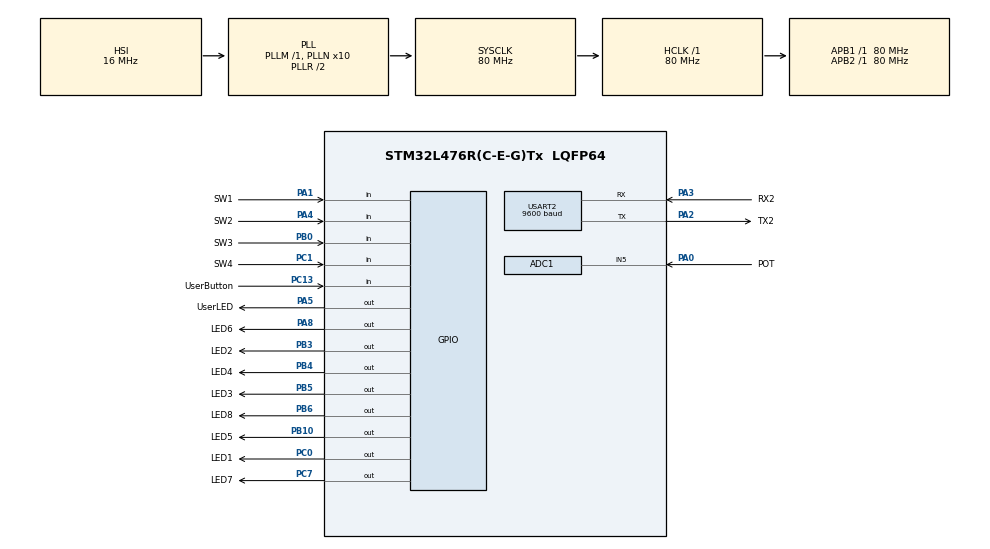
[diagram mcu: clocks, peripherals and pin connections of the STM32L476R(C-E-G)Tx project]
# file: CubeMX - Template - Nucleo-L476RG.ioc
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ADC1.Channel-0\#ChannelRegularConversion=ADC_CHANNEL_5
ADC1.NbrOfConversionFlag=1
ADC1.OffsetNumber-0\#ChannelRegularConversion=ADC_OFFSET_NONE
ADC1.Overrun=ADC_OVR_DATA_OVERWRITTEN
ADC1.Rank-0\#ChannelRegularConversion=1
ADC1.Resolution=ADC_RESOLUTION_12B
ADC1.SamplingTime-0\#ChannelRegularConversion=ADC_SAMPLETIME_2CYCLES_5
ADC1.master=1
Mcu.Family=STM32L4
Mcu.Name=STM32L476R(C-E-G)Tx
Mcu.Package=LQFP64
NVIC.PriorityGroup=NVIC_PRIORITYGROUP_4
PA0.GPIO_Label=POT
PA0.Signal=ADCx_IN5
PA1.GPIO_Label=SW1
PA1.Signal=GPIO_Input
PA13\ (JTMS-SWDIO).GPIO_Label=TMS
PA13\ (JTMS-SWDIO).Mode=Serial_Wire
PA13\ (JTMS-SWDIO).Signal=SYS_JTMS-SWDIO
PA14\ (JTCK-SWCLK).GPIO_Label=TCK
PA14\ (JTCK-SWCLK).Mode=Serial_Wire
PA14\ (JTCK-SWCLK).Signal=SYS_JTCK-SWCLK
PA2.GPIO_Label=TX2
PA2.GPIO_Mode=GPIO_MODE_AF_PP
PA2.GPIO_PuPd=GPIO_NOPULL
PA2.GPIO_Speed=GPIO_SPEED_FREQ_VERY_HIGH
PA2.Mode=Asynchronous
PA2.Signal=USART2_TX
PA3.GPIO_Label=RX2
PA3.GPIO_Mode=GPIO_MODE_AF_PP
PA3.GPIO_PuPd=GPIO_NOPULL
PA3.GPIO_Speed=GPIO_SPEED_FREQ_VERY_HIGH
PA3.Mode=Asynchronous
PA3.Signal=USART2_RX
PA4.GPIO_Label=SW2
PA4.Signal=GPIO_Input
PA5.GPIO_Label=UserLED
PA5.GPIO_ModeDefaultOutputPP=GPIO_MODE_OUTPUT_PP
PA5.GPIO_PuPd=GPIO_NOPULL
PA5.GPIO_Speed=GPIO_SPEED_FREQ_LOW
PA5.Signal=GPIO_Output
PA8.GPIO_Label=LED6
PA8.Signal=GPIO_Output
PB0.GPIO_Label=SW3
PB0.Signal=GPIO_Input
PB10.GPIO_Label=LED5
PB10.Signal=GPIO_Output
PB3\ (JTDO-TRACESWO).GPIO_Label=LED2
PB3\ (JTDO-TRACESWO).Signal=GPIO_Output
PB4\ (NJTRST).GPIO_Label=LED4
PB4\ (NJTRST).Signal=GPIO_Output
PB5.GPIO_Label=LED3
PB5.Signal=GPIO_Output
PB6.GPIO_Label=LED8
PB6.Signal=GPIO_Output
PC0.GPIO_Label=LED1
PC0.Signal=GPIO_Output
PC1.GPIO_Label=SW4
PC1.Signal=GPIO_Input
PC13.GPIO_Label=UserButton
PC13.Signal=GPIO_Input
PC7.GPIO_Label=LED7
PC7.Signal=GPIO_Output
ProjectManager.HeapSize=0x200
ProjectManager.StackSize=0x400
ProjectManager.TargetToolchain=MDK-ARM V5.32
RCC.ADCFreq_Value=64000000
RCC.AHBFreq_Value=80000000
RCC.APB1Freq_Value=80000000
RCC.APB1TimFreq_Value=80000000
RCC.APB2Freq_Value=80000000
RCC.APB2TimFreq_Value=80000000
RCC.CortexFreq_Value=80000000
RCC.HCLKFreq_Value=80000000
RCC.HSE_VALUE=8000000
RCC.HSI_VALUE=16000000
RCC.LSE_VALUE=32768
RCC.MSI_VALUE=4000000
RCC.PLLN=10
RCC.PLLSourceVirtual=RCC_PLLSOURCE_HSI
RCC.PREFETCH_ENABLE=1
RCC.SYSCLKFreq_VALUE=80000000
RCC.SYSCLKSource=RCC_SYSCLKSOURCE_PLLCLK
RCC.USBFreq_Value=64000000
RCC.VCOOutputFreq_Value=160000000
SH.ADCx_IN5.0=ADC1_IN5,IN5-Single-Ended
USART2.BaudRate=9600
USART2.OverrunDisableParam=ADVFEATURE_OVERRUN_DISABLE
USART2.VirtualMode-Asynchronous=VM_ASYNC
board=NUCLEO-L476RG

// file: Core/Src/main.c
/* USER CODE BEGIN Header */
/**
  ******************************************************************************
  * @file           : main.c
  * @brief          : Main program body
  ******************************************************************************
  * @attention
  *
  * Copyright (c) 2023 STMicroelectronics.
  * All rights reserved.
  *
  * This software is licensed under terms that can be found in the LICENSE file
  * in the root directory of this software component.
  * If no LICENSE file comes with this software, it is provided AS-IS.
  *
  ******************************************************************************
  */
/* USER CODE END Header */
#include "main.h"

/* USER CODE BEGIN Includes */
#include "leds.h"
#include "buttons.h"
#include "usart2.h"
#include "ad.h"
#include "stdio.h"
#include "string.h"
/* USER CODE END Includes */

ADC_HandleTypeDef hadc1;

UART_HandleTypeDef huart2;

/* USER CODE BEGIN PV */
static uint8_t count = 0;
static char text[101];
/* USER CODE END PV */

void SystemClock_Config(void);
static void MX_GPIO_Init(void);
static void MX_ADC1_Init(void);
static void MX_USART2_UART_Init(void);

int main(void)
{

  /* MCU Configuration--------------------------------------------------------*/

  /* Reset of all peripherals, Initializes the Flash interface and the Systick. */
  HAL_Init();

  /* Configure the system clock */
  SystemClock_Config();

  /* Initialize all configured peripherals */
  MX_GPIO_Init();
  MX_ADC1_Init();
  MX_USART2_UART_Init();
	count = 0 ; //count op alles omdat hij moet aoptellen (voor aftellen 225)
  /* USER CODE BEGIN 2 */
	// Laten weten dat we opgestart zijn, via de USART2 (USB).
	strcpy(text, "Reboot\r\n");
	printf("%s", text);
  /* USER CODE END 2 */

  /* Infinite loop */
  /* USER CODE BEGIN WHILE */
	uint8_t rx_buffer[4]; // Buffer om de ontvangen bytes op te slaan (4 bytes voor een int)
  int received_int;
  while (1)
  {
		// Wacht op ontvangst van data op de UART
		uint8_t receivedData;
		uint16_t shiftdata;
		HAL_UART_Receive(&huart2, &receivedData, 2, HAL_MAX_DELAY);

		receivedData -= 48; // Convert ascciivalue '0' to real value 0 (works for 0 to 9) !
		shiftdata = 1 << receivedData;
		shiftdata >>= 1;
		// Roep de functie aan om het overeenkomstige aantal LED's aan te sturen
		ByteToLeds((uint8_t)(shiftdata & 0xff));
    /* USER CODE END WHILE */

  }
}

void SystemClock_Config(void)
{
  RCC_OscInitTypeDef RCC_OscInitStruct = {0};
  RCC_ClkInitTypeDef RCC_ClkInitStruct = {0};

  /** Configure the main internal regulator output voltage
  */
  if (HAL_PWREx_ControlVoltageScaling(PWR_REGULATOR_VOLTAGE_SCALE1) != HAL_OK)
  {
    Error_Handler();
  }

  /** Initializes the RCC Oscillators according to the specified parameters
  * in the RCC_OscInitTypeDef structure.
  */
  RCC_OscInitStruct.OscillatorType = RCC_OSCILLATORTYPE_HSI;
  RCC_OscInitStruct.HSIState = RCC_HSI_ON;
  RCC_OscInitStruct.HSICalibrationValue = RCC_HSICALIBRATION_DEFAULT;
  RCC_OscInitStruct.PLL.PLLState = RCC_PLL_ON;
  RCC_OscInitStruct.PLL.PLLSource = RCC_PLLSOURCE_HSI;
  RCC_OscInitStruct.PLL.PLLM = 1;
  RCC_OscInitStruct.PLL.PLLN = 10;
  RCC_OscInitStruct.PLL.PLLP = RCC_PLLP_DIV7;
  RCC_OscInitStruct.PLL.PLLQ = RCC_PLLQ_DIV2;
  RCC_OscInitStruct.PLL.PLLR = RCC_PLLR_DIV2;
  if (HAL_RCC_OscConfig(&RCC_OscInitStruct) != HAL_OK)
  {
    Error_Handler();
  }

  /** Initializes the CPU, AHB and APB buses clocks
  */
  RCC_ClkInitStruct.ClockType = RCC_CLOCKTYPE_HCLK|RCC_CLOCKTYPE_SYSCLK
                              |RCC_CLOCKTYPE_PCLK1|RCC_CLOCKTYPE_PCLK2;
  RCC_ClkInitStruct.SYSCLKSource = RCC_SYSCLKSOURCE_PLLCLK;
  RCC_ClkInitStruct.AHBCLKDivider = RCC_SYSCLK_DIV1;
  RCC_ClkInitStruct.APB1CLKDivider = RCC_HCLK_DIV1;
  RCC_ClkInitStruct.APB2CLKDivider = RCC_HCLK_DIV1;

  if (HAL_RCC_ClockConfig(&RCC_ClkInitStruct, FLASH_LATENCY_4) != HAL_OK)
  {
    Error_Handler();
  }
}

static void MX_ADC1_Init(void)
{

  ADC_MultiModeTypeDef multimode = {0};
  ADC_ChannelConfTypeDef sConfig = {0};

  /** Common config
  */
  hadc1.Instance = ADC1;
  hadc1.Init.ClockPrescaler = ADC_CLOCK_ASYNC_DIV1;
  hadc1.Init.Resolution = ADC_RESOLUTION_12B;
  hadc1.Init.DataAlign = ADC_DATAALIGN_RIGHT;
  hadc1.Init.ScanConvMode = ADC_SCAN_DISABLE;
  hadc1.Init.EOCSelection = ADC_EOC_SINGLE_CONV;
  hadc1.Init.LowPowerAutoWait = DISABLE;
  hadc1.Init.ContinuousConvMode = DISABLE;
  hadc1.Init.NbrOfConversion = 1;
  hadc1.Init.DiscontinuousConvMode = DISABLE;
  hadc1.Init.ExternalTrigConv = ADC_SOFTWARE_START;
  hadc1.Init.ExternalTrigConvEdge = ADC_EXTERNALTRIGCONVEDGE_NONE;
  hadc1.Init.DMAContinuousRequests = DISABLE;
  hadc1.Init.Overrun = ADC_OVR_DATA_OVERWRITTEN;
  hadc1.Init.OversamplingMode = DISABLE;
  if (HAL_ADC_Init(&hadc1) != HAL_OK)
  {
    Error_Handler();
  }

  /** Configure the ADC multi-mode
  */
  multimode.Mode = ADC_MODE_INDEPENDENT;
  if (HAL_ADCEx_MultiModeConfigChannel(&hadc1, &multimode) != HAL_OK)
  {
    Error_Handler();
  }

  /** Configure Regular Channel
  */
  sConfig.Channel = ADC_CHANNEL_5;
  sConfig.Rank = ADC_REGULAR_RANK_1;
  sConfig.SamplingTime = ADC_SAMPLETIME_2CYCLES_5;
  sConfig.SingleDiff = ADC_SINGLE_ENDED;
  sConfig.OffsetNumber = ADC_OFFSET_NONE;
  sConfig.Offset = 0;
  if (HAL_ADC_ConfigChannel(&hadc1, &sConfig) != HAL_OK)
  {
    Error_Handler();
  }

}

static void MX_USART2_UART_Init(void)
{

  huart2.Instance = USART2;
  huart2.Init.BaudRate = 9600;
  huart2.Init.WordLength = UART_WORDLENGTH_8B;
  huart2.Init.StopBits = UART_STOPBITS_1;
  huart2.Init.Parity = UART_PARITY_NONE;
  huart2.Init.Mode = UART_MODE_TX_RX;
  huart2.Init.HwFlowCtl = UART_HWCONTROL_NONE;
  huart2.Init.OverSampling = UART_OVERSAMPLING_16;
  huart2.Init.OneBitSampling = UART_ONE_BIT_SAMPLE_DISABLE;
  huart2.AdvancedInit.AdvFeatureInit = UART_ADVFEATURE_RXOVERRUNDISABLE_INIT;
  huart2.AdvancedInit.OverrunDisable = UART_ADVFEATURE_OVERRUN_DISABLE;
  if (HAL_UART_Init(&huart2) != HAL_OK)
  {
    Error_Handler();
  }

}

static void MX_GPIO_Init(void)
{
  GPIO_InitTypeDef GPIO_InitStruct = {0};

  /* GPIO Ports Clock Enable */
  __HAL_RCC_GPIOC_CLK_ENABLE();
  __HAL_RCC_GPIOA_CLK_ENABLE();
  __HAL_RCC_GPIOB_CLK_ENABLE();

  /*Configure GPIO pin Output Level */
  HAL_GPIO_WritePin(GPIOC, LED1_Pin|LED7_Pin, GPIO_PIN_RESET);

  /*Configure GPIO pin Output Level */
  HAL_GPIO_WritePin(GPIOA, UserLED_Pin|LED6_Pin, GPIO_PIN_RESET);

  /*Configure GPIO pin Output Level */
  HAL_GPIO_WritePin(GPIOB, LED5_Pin|LED2_Pin|LED4_Pin|LED3_Pin
                          |LED8_Pin, GPIO_PIN_RESET);

  /*Configure GPIO pins : UserButton_Pin SW4_Pin */
  GPIO_InitStruct.Pin = UserButton_Pin|SW4_Pin;
  GPIO_InitStruct.Mode = GPIO_MODE_INPUT;
  GPIO_InitStruct.Pull = GPIO_NOPULL;
  HAL_GPIO_Init(GPIOC, &GPIO_InitStruct);

  /*Configure GPIO pins : LED1_Pin LED7_Pin */
  GPIO_InitStruct.Pin = LED1_Pin|LED7_Pin;
  GPIO_InitStruct.Mode = GPIO_MODE_OUTPUT_PP;
  GPIO_InitStruct.Pull = GPIO_NOPULL;
  GPIO_InitStruct.Speed = GPIO_SPEED_FREQ_LOW;
  HAL_GPIO_Init(GPIOC, &GPIO_InitStruct);

  /*Configure GPIO pins : SW1_Pin SW2_Pin */
  GPIO_InitStruct.Pin = SW1_Pin|SW2_Pin;
  GPIO_InitStruct.Mode = GPIO_MODE_INPUT;
  GPIO_InitStruct.Pull = GPIO_NOPULL;
  HAL_GPIO_Init(GPIOA, &GPIO_InitStruct);

  /*Configure GPIO pins : UserLED_Pin LED6_Pin */
  GPIO_InitStruct.Pin = UserLED_Pin|LED6_Pin;
  GPIO_InitStruct.Mode = GPIO_MODE_OUTPUT_PP;
  GPIO_InitStruct.Pull = GPIO_NOPULL;
  GPIO_InitStruct.Speed = GPIO_SPEED_FREQ_LOW;
  HAL_GPIO_Init(GPIOA, &GPIO_InitStruct);

  /*Configure GPIO pin : SW3_Pin */
  GPIO_InitStruct.Pin = SW3_Pin;
  GPIO_InitStruct.Mode = GPIO_MODE_INPUT;
  GPIO_InitStruct.Pull = GPIO_NOPULL;
  HAL_GPIO_Init(SW3_GPIO_Port, &GPIO_InitStruct);

  /*Configure GPIO pins : LED5_Pin LED2_Pin LED4_Pin LED3_Pin
                           LED8_Pin */
  GPIO_InitStruct.Pin = LED5_Pin|LED2_Pin|LED4_Pin|LED3_Pin
                          |LED8_Pin;
  GPIO_InitStruct.Mode = GPIO_MODE_OUTPUT_PP;
  GPIO_InitStruct.Pull = GPIO_NOPULL;
  GPIO_InitStruct.Speed = GPIO_SPEED_FREQ_LOW;
  HAL_GPIO_Init(GPIOB, &GPIO_InitStruct);

}

void Error_Handler(void)
{
  __disable_irq();
  while (1)
  {
  }
}
